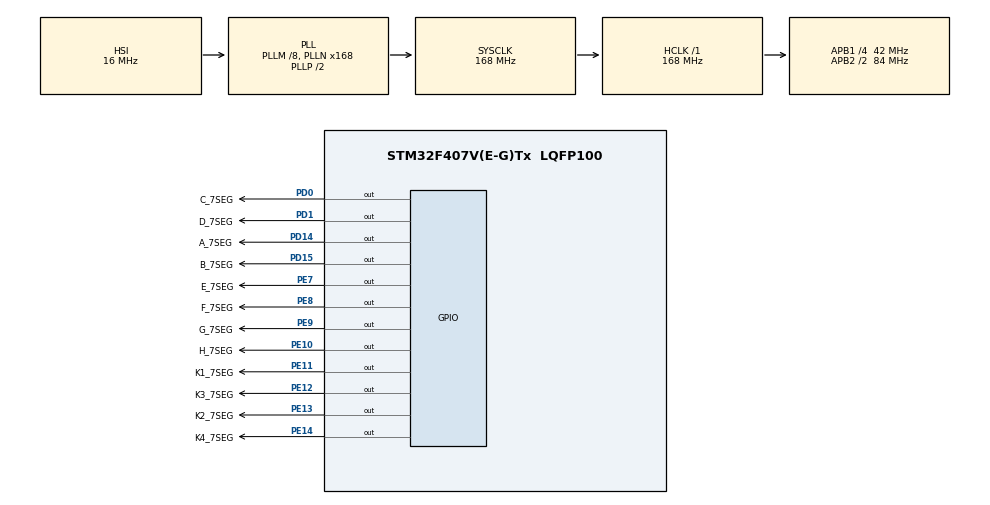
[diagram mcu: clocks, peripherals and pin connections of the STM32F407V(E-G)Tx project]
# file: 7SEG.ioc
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Mcu.Family=STM32F4
Mcu.Name=STM32F407V(E-G)Tx
Mcu.Package=LQFP100
NVIC.PriorityGroup=NVIC_PRIORITYGROUP_4
NVIC.TIM6_DAC_IRQn=true\:0\:0\:false\:false\:true\:true\:true
NVIC.TIM7_IRQn=true\:0\:0\:false\:false\:true\:true\:true
PA13.Mode=Serial_Wire
PA13.Signal=SYS_JTMS-SWDIO
PA14.Mode=Serial_Wire
PA14.Signal=SYS_JTCK-SWCLK
PD0.GPIO_Label=C_7SEG
PD0.Signal=GPIO_Output
PD1.GPIO_Label=D_7SEG
PD1.Signal=GPIO_Output
PD14.GPIO_Label=A_7SEG
PD14.Signal=GPIO_Output
PD15.GPIO_Label=B_7SEG
PD15.Signal=GPIO_Output
PE10.GPIO_Label=H_7SEG
PE10.Signal=GPIO_Output
PE11.GPIO_Label=K1_7SEG
PE11.Signal=GPIO_Output
PE12.GPIO_Label=K3_7SEG
PE12.Signal=GPIO_Output
PE13.GPIO_Label=K2_7SEG
PE13.Signal=GPIO_Output
PE14.GPIO_Label=K4_7SEG
PE14.Signal=GPIO_Output
PE7.GPIO_Label=E_7SEG
PE7.Signal=GPIO_Output
PE8.GPIO_Label=F_7SEG
PE8.Signal=GPIO_Output
PE9.GPIO_Label=G_7SEG
PE9.Signal=GPIO_Output
PH0-OSC_IN.Mode=HSE-External-Oscillator
PH0-OSC_IN.Signal=RCC_OSC_IN
PH1-OSC_OUT.Mode=HSE-External-Oscillator
PH1-OSC_OUT.Signal=RCC_OSC_OUT
ProjectManager.HeapSize=0x200
ProjectManager.StackSize=0x400
ProjectManager.TargetToolchain=MDK-ARM V5
RCC.48MHZClocksFreq_Value=84000000
RCC.AHBFreq_Value=168000000
RCC.APB1CLKDivider=RCC_HCLK_DIV4
RCC.APB1Freq_Value=42000000
RCC.APB1TimFreq_Value=84000000
RCC.APB2CLKDivider=RCC_HCLK_DIV2
RCC.APB2Freq_Value=84000000
RCC.APB2TimFreq_Value=168000000
RCC.CortexFreq_Value=168000000
RCC.HCLKFreq_Value=168000000
RCC.HSE_VALUE=8000000
RCC.HSI_VALUE=16000000
RCC.LSE_VALUE=32768
RCC.PLLM=8
RCC.PLLN=168
RCC.SYSCLKFreq_VALUE=168000000
RCC.SYSCLKSource=RCC_SYSCLKSOURCE_PLLCLK
RCC.VCOOutputFreq_Value=336000000
TIM6.Period=5
TIM6.Prescaler=33600 -1
TIM7.Period=250
TIM7.Prescaler=33600 - 1
VP_TIM6_VS_ClockSourceINT.Mode=Enable_Timer
VP_TIM7_VS_ClockSourceINT.Mode=Enable_Timer
board=custom

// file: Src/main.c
/* USER CODE BEGIN Header */
/**
  ******************************************************************************
  * @file           : main.c
  * @brief          : Main program body
  ******************************************************************************
  * @attention
  *
  * <h2><center>&copy; Copyright (c) 2020 STMicroelectronics.
  * All rights reserved.</center></h2>
  *
  * This software component is licensed by ST under BSD 3-Clause license,
  * the "License"; You may not use this file except in compliance with the
  * License. You may obtain a copy of the License at:
  *                        opensource.org/licenses/BSD-3-Clause
  *
  ******************************************************************************
  */
/* USER CODE END Header */
#include "main.h"
#include "tim.h"
#include "gpio.h"

/* USER CODE BEGIN Includes */
#include "string.h"
#include <stdio.h>
/* USER CODE END Includes */

/* USER CODE BEGIN PV */
const unsigned char digit[10]= {0xC0,0xF9,0xA4,0xB0,0x99,0x92,0x82,0xF8,0x80,0x90};  //COMMON ANODE
/* USER CODE END PV */

void SystemClock_Config(void);
/* USER CODE BEGIN PFP */
void display(char digit)
{
	HAL_GPIO_WritePin(A_7SEG_GPIO_Port,A_7SEG_Pin,GPIO_PIN_RESET);
	HAL_GPIO_WritePin(B_7SEG_GPIO_Port,B_7SEG_Pin,GPIO_PIN_RESET);
	HAL_GPIO_WritePin(C_7SEG_GPIO_Port,C_7SEG_Pin,GPIO_PIN_RESET);
	HAL_GPIO_WritePin(D_7SEG_GPIO_Port,D_7SEG_Pin,GPIO_PIN_RESET);
	HAL_GPIO_WritePin(E_7SEG_GPIO_Port,E_7SEG_Pin,GPIO_PIN_RESET);
	HAL_GPIO_WritePin(F_7SEG_GPIO_Port,F_7SEG_Pin,GPIO_PIN_RESET);
	HAL_GPIO_WritePin(G_7SEG_GPIO_Port,G_7SEG_Pin,GPIO_PIN_RESET);
	HAL_GPIO_WritePin(H_7SEG_GPIO_Port,H_7SEG_Pin,GPIO_PIN_RESET);
 switch (digit)
 {
	 case 0:
			HAL_GPIO_WritePin(A_7SEG_GPIO_Port,A_7SEG_Pin,GPIO_PIN_SET);
			HAL_GPIO_WritePin(B_7SEG_GPIO_Port,B_7SEG_Pin,GPIO_PIN_SET);
			HAL_GPIO_WritePin(C_7SEG_GPIO_Port,C_7SEG_Pin,GPIO_PIN_SET);
			HAL_GPIO_WritePin(D_7SEG_GPIO_Port,D_7SEG_Pin,GPIO_PIN_SET);
			HAL_GPIO_WritePin(E_7SEG_GPIO_Port,E_7SEG_Pin,GPIO_PIN_SET);
			HAL_GPIO_WritePin(F_7SEG_GPIO_Port,F_7SEG_Pin,GPIO_PIN_SET);
		 break;
	 case 1:
			HAL_GPIO_WritePin(B_7SEG_GPIO_Port,B_7SEG_Pin,GPIO_PIN_SET);
	    HAL_GPIO_WritePin(C_7SEG_GPIO_Port,C_7SEG_Pin,GPIO_PIN_SET);
		 break;
	 case 2:
			HAL_GPIO_WritePin(A_7SEG_GPIO_Port,A_7SEG_Pin,GPIO_PIN_SET);
			HAL_GPIO_WritePin(B_7SEG_GPIO_Port,B_7SEG_Pin,GPIO_PIN_SET);
			HAL_GPIO_WritePin(D_7SEG_GPIO_Port,D_7SEG_Pin,GPIO_PIN_SET);
			HAL_GPIO_WritePin(E_7SEG_GPIO_Port,E_7SEG_Pin,GPIO_PIN_SET);
	    HAL_GPIO_WritePin(G_7SEG_GPIO_Port,G_7SEG_Pin,GPIO_PIN_SET);
		 break;
	 case 3:
		 	HAL_GPIO_WritePin(A_7SEG_GPIO_Port,A_7SEG_Pin,GPIO_PIN_SET);
			HAL_GPIO_WritePin(B_7SEG_GPIO_Port,B_7SEG_Pin,GPIO_PIN_SET);
			HAL_GPIO_WritePin(C_7SEG_GPIO_Port,C_7SEG_Pin,GPIO_PIN_SET);
			HAL_GPIO_WritePin(D_7SEG_GPIO_Port,D_7SEG_Pin,GPIO_PIN_SET);
	    HAL_GPIO_WritePin(G_7SEG_GPIO_Port,G_7SEG_Pin,GPIO_PIN_SET);
		 break;
	 case 4:
			HAL_GPIO_WritePin(B_7SEG_GPIO_Port,B_7SEG_Pin,GPIO_PIN_SET);
			HAL_GPIO_WritePin(C_7SEG_GPIO_Port,C_7SEG_Pin,GPIO_PIN_SET);
			HAL_GPIO_WritePin(F_7SEG_GPIO_Port,F_7SEG_Pin,GPIO_PIN_SET);
	    HAL_GPIO_WritePin(G_7SEG_GPIO_Port,G_7SEG_Pin,GPIO_PIN_SET);
		 break;
	 case 5:
		 	HAL_GPIO_WritePin(A_7SEG_GPIO_Port,A_7SEG_Pin,GPIO_PIN_SET);
			HAL_GPIO_WritePin(C_7SEG_GPIO_Port,C_7SEG_Pin,GPIO_PIN_SET);
			HAL_GPIO_WritePin(D_7SEG_GPIO_Port,D_7SEG_Pin,GPIO_PIN_SET);
			HAL_GPIO_WritePin(F_7SEG_GPIO_Port,F_7SEG_Pin,GPIO_PIN_SET);
	    HAL_GPIO_WritePin(G_7SEG_GPIO_Port,G_7SEG_Pin,GPIO_PIN_SET);
		 break;
	 case 6:
		 	HAL_GPIO_WritePin(A_7SEG_GPIO_Port,A_7SEG_Pin,GPIO_PIN_SET);
			HAL_GPIO_WritePin(C_7SEG_GPIO_Port,C_7SEG_Pin,GPIO_PIN_SET);
			HAL_GPIO_WritePin(D_7SEG_GPIO_Port,D_7SEG_Pin,GPIO_PIN_SET);
			HAL_GPIO_WritePin(E_7SEG_GPIO_Port,E_7SEG_Pin,GPIO_PIN_SET);
			HAL_GPIO_WritePin(F_7SEG_GPIO_Port,F_7SEG_Pin,GPIO_PIN_SET);
	    HAL_GPIO_WritePin(G_7SEG_GPIO_Port,G_7SEG_Pin,GPIO_PIN_SET);
		 break;
	 case 7:
		 	HAL_GPIO_WritePin(A_7SEG_GPIO_Port,A_7SEG_Pin,GPIO_PIN_SET);
			HAL_GPIO_WritePin(B_7SEG_GPIO_Port,B_7SEG_Pin,GPIO_PIN_SET);
			HAL_GPIO_WritePin(C_7SEG_GPIO_Port,C_7SEG_Pin,GPIO_PIN_SET);
		 break;
	 case 8:
		 	HAL_GPIO_WritePin(A_7SEG_GPIO_Port,A_7SEG_Pin,GPIO_PIN_SET);
			HAL_GPIO_WritePin(B_7SEG_GPIO_Port,B_7SEG_Pin,GPIO_PIN_SET);
			HAL_GPIO_WritePin(C_7SEG_GPIO_Port,C_7SEG_Pin,GPIO_PIN_SET);
			HAL_GPIO_WritePin(D_7SEG_GPIO_Port,D_7SEG_Pin,GPIO_PIN_SET);
			HAL_GPIO_WritePin(E_7SEG_GPIO_Port,E_7SEG_Pin,GPIO_PIN_SET);
			HAL_GPIO_WritePin(F_7SEG_GPIO_Port,F_7SEG_Pin,GPIO_PIN_SET);
	    HAL_GPIO_WritePin(G_7SEG_GPIO_Port,G_7SEG_Pin,GPIO_PIN_SET);
		 break;
	 case 9:
		 	HAL_GPIO_WritePin(A_7SEG_GPIO_Port,A_7SEG_Pin,GPIO_PIN_SET);
			HAL_GPIO_WritePin(B_7SEG_GPIO_Port,B_7SEG_Pin,GPIO_PIN_SET);
			HAL_GPIO_WritePin(C_7SEG_GPIO_Port,C_7SEG_Pin,GPIO_PIN_SET);
			HAL_GPIO_WritePin(D_7SEG_GPIO_Port,D_7SEG_Pin,GPIO_PIN_SET);
			HAL_GPIO_WritePin(F_7SEG_GPIO_Port,F_7SEG_Pin,GPIO_PIN_SET);
	    HAL_GPIO_WritePin(G_7SEG_GPIO_Port,G_7SEG_Pin,GPIO_PIN_SET);
		 break;
 }

}

char segment = 0;

char str[4];

int counter = 0;
/**
  * @brief  Period elapsed callback in non blocking mode
  * @param  htim : TIM handle
  * @retval None
  */
void HAL_TIM_PeriodElapsedCallback(TIM_HandleTypeDef *htim)
{

    if(htim->Instance == TIM6)
    {
        switch(segment)
				{
					case 0:
								HAL_GPIO_WritePin(K1_7SEG_GPIO_Port,K1_7SEG_Pin,GPIO_PIN_RESET);
								HAL_GPIO_WritePin(K1_7SEG_GPIO_Port,K2_7SEG_Pin | K3_7SEG_Pin | K4_7SEG_Pin,GPIO_PIN_SET);
								display(str[3] - 0x30);
						break;
					case 1:
								HAL_GPIO_WritePin(K2_7SEG_GPIO_Port,K2_7SEG_Pin,GPIO_PIN_RESET);
								HAL_GPIO_WritePin(K1_7SEG_GPIO_Port,K1_7SEG_Pin | K3_7SEG_Pin | K4_7SEG_Pin,GPIO_PIN_SET);
								display(str[2] - 0x30);
					      HAL_GPIO_WritePin(H_7SEG_GPIO_Port,H_7SEG_Pin,GPIO_PIN_SET);
						break;
					case 2:
								HAL_GPIO_WritePin(K3_7SEG_GPIO_Port,K3_7SEG_Pin,GPIO_PIN_RESET);
								HAL_GPIO_WritePin(K1_7SEG_GPIO_Port,K1_7SEG_Pin | K2_7SEG_Pin | K4_7SEG_Pin,GPIO_PIN_SET);
								display(str[1] - 0x30);
						break;
					case 3:
								HAL_GPIO_WritePin(K4_7SEG_GPIO_Port,K4_7SEG_Pin,GPIO_PIN_RESET);
								HAL_GPIO_WritePin(K1_7SEG_GPIO_Port,K1_7SEG_Pin | K2_7SEG_Pin | K3_7SEG_Pin,GPIO_PIN_SET);
								display(str[0] - 0x30);
						break;

				}
					segment++;
					if(segment == 4) segment = 0;
    }

		if(htim->Instance == TIM7)
    {
        counter++;
			  if(counter == 10000) counter = 0;
			  sprintf(str,"%4d",counter);
    }

}
/* USER CODE END PFP */

int main(void)
{

  /* MCU Configuration--------------------------------------------------------*/

  /* Reset of all peripherals, Initializes the Flash interface and the Systick. */
  HAL_Init();

  /* Configure the system clock */
  SystemClock_Config();

  /* Initialize all configured peripherals */
  MX_GPIO_Init();
  MX_TIM6_Init();
  MX_TIM7_Init();
  /* USER CODE BEGIN 2 */
  HAL_TIM_Base_Start_IT(&htim6);
	HAL_TIM_Base_Start_IT(&htim7);
  /* USER CODE END 2 */

  /* Infinite loop */
  while (1)
  {

    /* USER CODE BEGIN 3 */

		HAL_Delay(10);

  }
  /* USER CODE END 3 */
}

void SystemClock_Config(void)
{
  RCC_OscInitTypeDef RCC_OscInitStruct = {0};
  RCC_ClkInitTypeDef RCC_ClkInitStruct = {0};

  /** Configure the main internal regulator output voltage
  */
  __HAL_RCC_PWR_CLK_ENABLE();
  __HAL_PWR_VOLTAGESCALING_CONFIG(PWR_REGULATOR_VOLTAGE_SCALE1);
  /** Initializes the RCC Oscillators according to the specified parameters
  * in the RCC_OscInitTypeDef structure.
  */
  RCC_OscInitStruct.OscillatorType = RCC_OSCILLATORTYPE_HSI;
  RCC_OscInitStruct.HSIState = RCC_HSI_ON;
  RCC_OscInitStruct.HSICalibrationValue = RCC_HSICALIBRATION_DEFAULT;
  RCC_OscInitStruct.PLL.PLLState = RCC_PLL_ON;
  RCC_OscInitStruct.PLL.PLLSource = RCC_PLLSOURCE_HSI;
  RCC_OscInitStruct.PLL.PLLM = 8;
  RCC_OscInitStruct.PLL.PLLN = 168;
  RCC_OscInitStruct.PLL.PLLP = RCC_PLLP_DIV2;
  RCC_OscInitStruct.PLL.PLLQ = 4;
  if (HAL_RCC_OscConfig(&RCC_OscInitStruct) != HAL_OK)
  {
    Error_Handler();
  }
  /** Initializes the CPU, AHB and APB buses clocks
  */
  RCC_ClkInitStruct.ClockType = RCC_CLOCKTYPE_HCLK|RCC_CLOCKTYPE_SYSCLK
                              |RCC_CLOCKTYPE_PCLK1|RCC_CLOCKTYPE_PCLK2;
  RCC_ClkInitStruct.SYSCLKSource = RCC_SYSCLKSOURCE_PLLCLK;
  RCC_ClkInitStruct.AHBCLKDivider = RCC_SYSCLK_DIV1;
  RCC_ClkInitStruct.APB1CLKDivider = RCC_HCLK_DIV4;
  RCC_ClkInitStruct.APB2CLKDivider = RCC_HCLK_DIV2;

  if (HAL_RCC_ClockConfig(&RCC_ClkInitStruct, FLASH_LATENCY_5) != HAL_OK)
  {
    Error_Handler();
  }
}

void Error_Handler(void)
{
}

/************************ (C) COPYRIGHT STMicroelectronics *****END OF FILE****/
